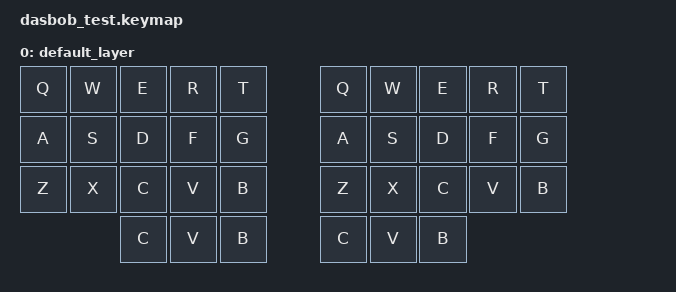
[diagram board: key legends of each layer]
/*
 * Copyright (c) 2024 The ZMK Contributors
 *
 * SPDX-License-Identifier: MIT
 */

#include <behaviors.dtsi>
#include <dt-bindings/zmk/keys.h>

/ {
    keymap {
        compatible = "zmk,keymap";

        default_layer {
            bindings = <
                &kp Q &kp W &kp E &kp R &kp T  &kp Q &kp W &kp E &kp R &kp T
                &kp A &kp S &kp D &kp F &kp G  &kp A &kp S &kp D &kp F &kp G
                &kp Z &kp X &kp C &kp V &kp B  &kp Z &kp X &kp C &kp V &kp B
                            &kp C &kp V &kp B  &kp C &kp V &kp B

            >;
        };
    };
};
